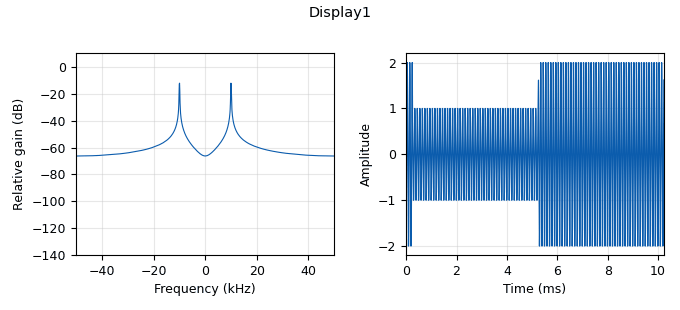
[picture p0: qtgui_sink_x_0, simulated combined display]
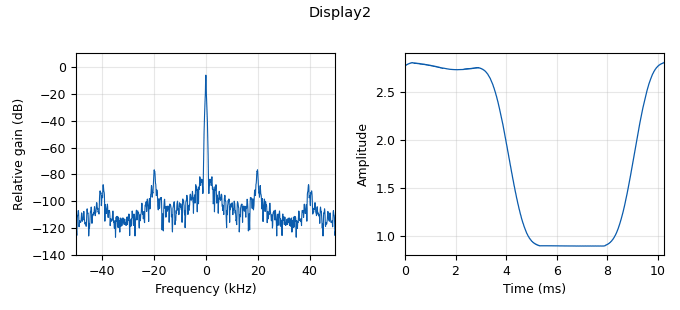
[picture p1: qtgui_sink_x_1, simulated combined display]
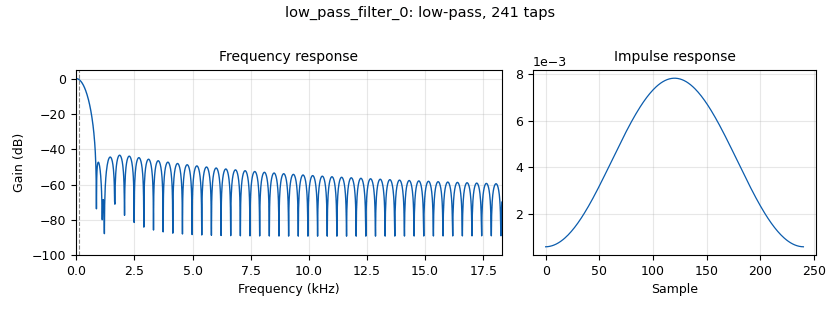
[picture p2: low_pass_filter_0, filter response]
<?xml version='1.0' encoding='utf-8'?>
<?grc format='1' created='3.7.9'?>
<flow_graph>
<block>
<key>options</key>
<param><key>id</key><value>askmod</value></param>
<param><key>category</key><value>Custom</value></param>
<param><key>generate_options</key><value>qt_gui</value></param>
<param><key>title</key><value>ASK/OOK</value></param>
</block>
<block>
<key>variable</key>
<param><key>id</key><value>decim</value></param>
<param><key>value</key><value>1</value></param>
</block>
<block>
<key>variable</key>
<param><key>id</key><value>samp_rate</value></param>
<param><key>value</key><value>100e3</value></param>
</block>
<block>
<key>analog_sig_source_x</key>
<param><key>id</key><value>analog_sig_source_x_0</value></param>
<param><key>amp</key><value>1</value></param>
<param><key>freq</key><value>10e3</value></param>
<param><key>offset</key><value>0</value></param>
<param><key>type</key><value>float</value></param>
<param><key>samp_rate</key><value>samp_rate</value></param>
<param><key>waveform</key><value>analog.GR_COS_WAVE</value></param>
</block>
<block>
<key>analog_sig_source_x</key>
<param><key>id</key><value>analog_sig_source_x_0_0</value></param>
<param><key>amp</key><value>1</value></param>
<param><key>freq</key><value>100</value></param>
<param><key>offset</key><value>0</value></param>
<param><key>type</key><value>float</value></param>
<param><key>samp_rate</key><value>samp_rate</value></param>
<param><key>waveform</key><value>analog.GR_SQR_WAVE</value></param>
</block>
<block>
<key>blocks_add_const_vxx</key>
<param><key>id</key><value>blocks_add_const_vxx_0</value></param>
<param><key>const</key><value>1</value></param>
<param><key>type</key><value>float</value></param>
</block>
<block>
<key>blocks_complex_to_mag_squared</key>
<param><key>id</key><value>blocks_complex_to_mag_squared_0</value></param>
</block>
<block>
<key>blocks_float_to_complex</key>
<param><key>id</key><value>blocks_float_to_complex_0</value></param>
</block>
<block>
<key>blocks_multiply_xx</key>
<param><key>id</key><value>blocks_multiply_xx_0</value></param>
<param><key>type</key><value>float</value></param>
</block>
<block>
<key>blocks_throttle</key>
<param><key>id</key><value>blocks_throttle_0</value></param>
<param><key>samples_per_second</key><value>samp_rate</value></param>
<param><key>type</key><value>float</value></param>
</block>
<block>
<key>channels_channel_model</key>
<param><key>id</key><value>channels_channel_model_0</value></param>
<param><key>epsilon</key><value>1.0</value></param>
<param><key>freq_offset</key><value>0.0</value></param>
<param><key>noise_voltage</key><value>0.0</value></param>
<param><key>seed</key><value>0</value></param>
<param><key>taps</key><value>1.0 + 1.0j</value></param>
</block>
<block>
<key>digital_clock_recovery_mm_xx</key>
<param><key>id</key><value>digital_clock_recovery_mm_xx_0</value></param>
<param><key>gain_mu</key><value>0.175</value></param>
<param><key>gain_omega</key><value>0.25*0.175*0.175</value></param>
<param><key>mu</key><value>0.5</value></param>
<param><key>omega_relative_limit</key><value>0.005</value></param>
<param><key>omega</key><value>1</value></param>
<param><key>type</key><value>float</value></param>
</block>
<block>
<key>freq_xlating_fir_filter_xxx</key>
<param><key>id</key><value>freq_xlating_fir_filter_xxx_0</value></param>
<param><key>center_freq</key><value>0</value></param>
<param><key>decim</key><value>decim</value></param>
<param><key>samp_rate</key><value>samp_rate</value></param>
<param><key>taps</key><value>firdes.low_pass(1,samp_rate, (samp_rate/(2*decim)), 2000)</value></param>
<param><key>type</key><value>ccc</value></param>
</block>
<block>
<key>low_pass_filter</key>
<param><key>id</key><value>low_pass_filter_0</value></param>
<param><key>cutoff_freq</key><value>100</value></param>
<param><key>decim</key><value>1</value></param>
<param><key>type</key><value>fir_filter_fff</value></param>
<param><key>gain</key><value>1</value></param>
<param><key>samp_rate</key><value>samp_rate</value></param>
<param><key>width</key><value>1e3</value></param>
<param><key>win</key><value>firdes.WIN_HAMMING</value></param>
</block>
<block>
<key>qtgui_sink_x</key>
<param><key>id</key><value>qtgui_sink_x_0</value></param>
<param><key>bw</key><value>samp_rate</value></param>
<param><key>fc</key><value>0</value></param>
<param><key>freqchangevar</key><value>None</value></param>
<param><key>fftsize</key><value>1024</value></param>
<param><key>name</key><value>"Display1"</value></param>
<param><key>showports</key><value>True</value></param>
<param><key>type</key><value>float</value></param>
<param><key>wintype</key><value>firdes.WIN_BLACKMAN_hARRIS</value></param>
</block>
<block>
<key>qtgui_sink_x</key>
<param><key>id</key><value>qtgui_sink_x_1</value></param>
<param><key>bw</key><value>samp_rate</value></param>
<param><key>fc</key><value>0</value></param>
<param><key>freqchangevar</key><value>None</value></param>
<param><key>fftsize</key><value>1024</value></param>
<param><key>name</key><value>"Display2"</value></param>
<param><key>showports</key><value>True</value></param>
<param><key>type</key><value>float</value></param>
<param><key>wintype</key><value>firdes.WIN_BLACKMAN_hARRIS</value></param>
</block>
<connection><source_block_id>analog_sig_source_x_0</source_block_id><sink_block_id>blocks_multiply_xx_0</sink_block_id><source_key>0</source_key><sink_key>0</sink_key></connection>
<connection><source_block_id>analog_sig_source_x_0_0</source_block_id><sink_block_id>blocks_add_const_vxx_0</sink_block_id><source_key>0</source_key><sink_key>0</sink_key></connection>
<connection><source_block_id>blocks_add_const_vxx_0</source_block_id><sink_block_id>blocks_multiply_xx_0</sink_block_id><source_key>0</source_key><sink_key>1</sink_key></connection>
<connection><source_block_id>blocks_complex_to_mag_squared_0</source_block_id><sink_block_id>digital_clock_recovery_mm_xx_0</sink_block_id><source_key>0</source_key><sink_key>0</sink_key></connection>
<connection><source_block_id>blocks_float_to_complex_0</source_block_id><sink_block_id>channels_channel_model_0</sink_block_id><source_key>0</source_key><sink_key>0</sink_key></connection>
<connection><source_block_id>blocks_multiply_xx_0</source_block_id><sink_block_id>blocks_throttle_0</sink_block_id><source_key>0</source_key><sink_key>0</sink_key></connection>
<connection><source_block_id>blocks_throttle_0</source_block_id><sink_block_id>blocks_float_to_complex_0</sink_block_id><source_key>0</source_key><sink_key>0</sink_key></connection>
<connection><source_block_id>blocks_throttle_0</source_block_id><sink_block_id>qtgui_sink_x_0</sink_block_id><source_key>0</source_key><sink_key>0</sink_key></connection>
<connection><source_block_id>channels_channel_model_0</source_block_id><sink_block_id>freq_xlating_fir_filter_xxx_0</sink_block_id><source_key>0</source_key><sink_key>0</sink_key></connection>
<connection><source_block_id>digital_clock_recovery_mm_xx_0</source_block_id><sink_block_id>low_pass_filter_0</sink_block_id><source_key>0</source_key><sink_key>0</sink_key></connection>
<connection><source_block_id>freq_xlating_fir_filter_xxx_0</source_block_id><sink_block_id>blocks_complex_to_mag_squared_0</sink_block_id><source_key>0</source_key><sink_key>0</sink_key></connection>
<connection><source_block_id>low_pass_filter_0</source_block_id><sink_block_id>qtgui_sink_x_1</sink_block_id><source_key>0</source_key><sink_key>0</sink_key></connection>
</flow_graph>
